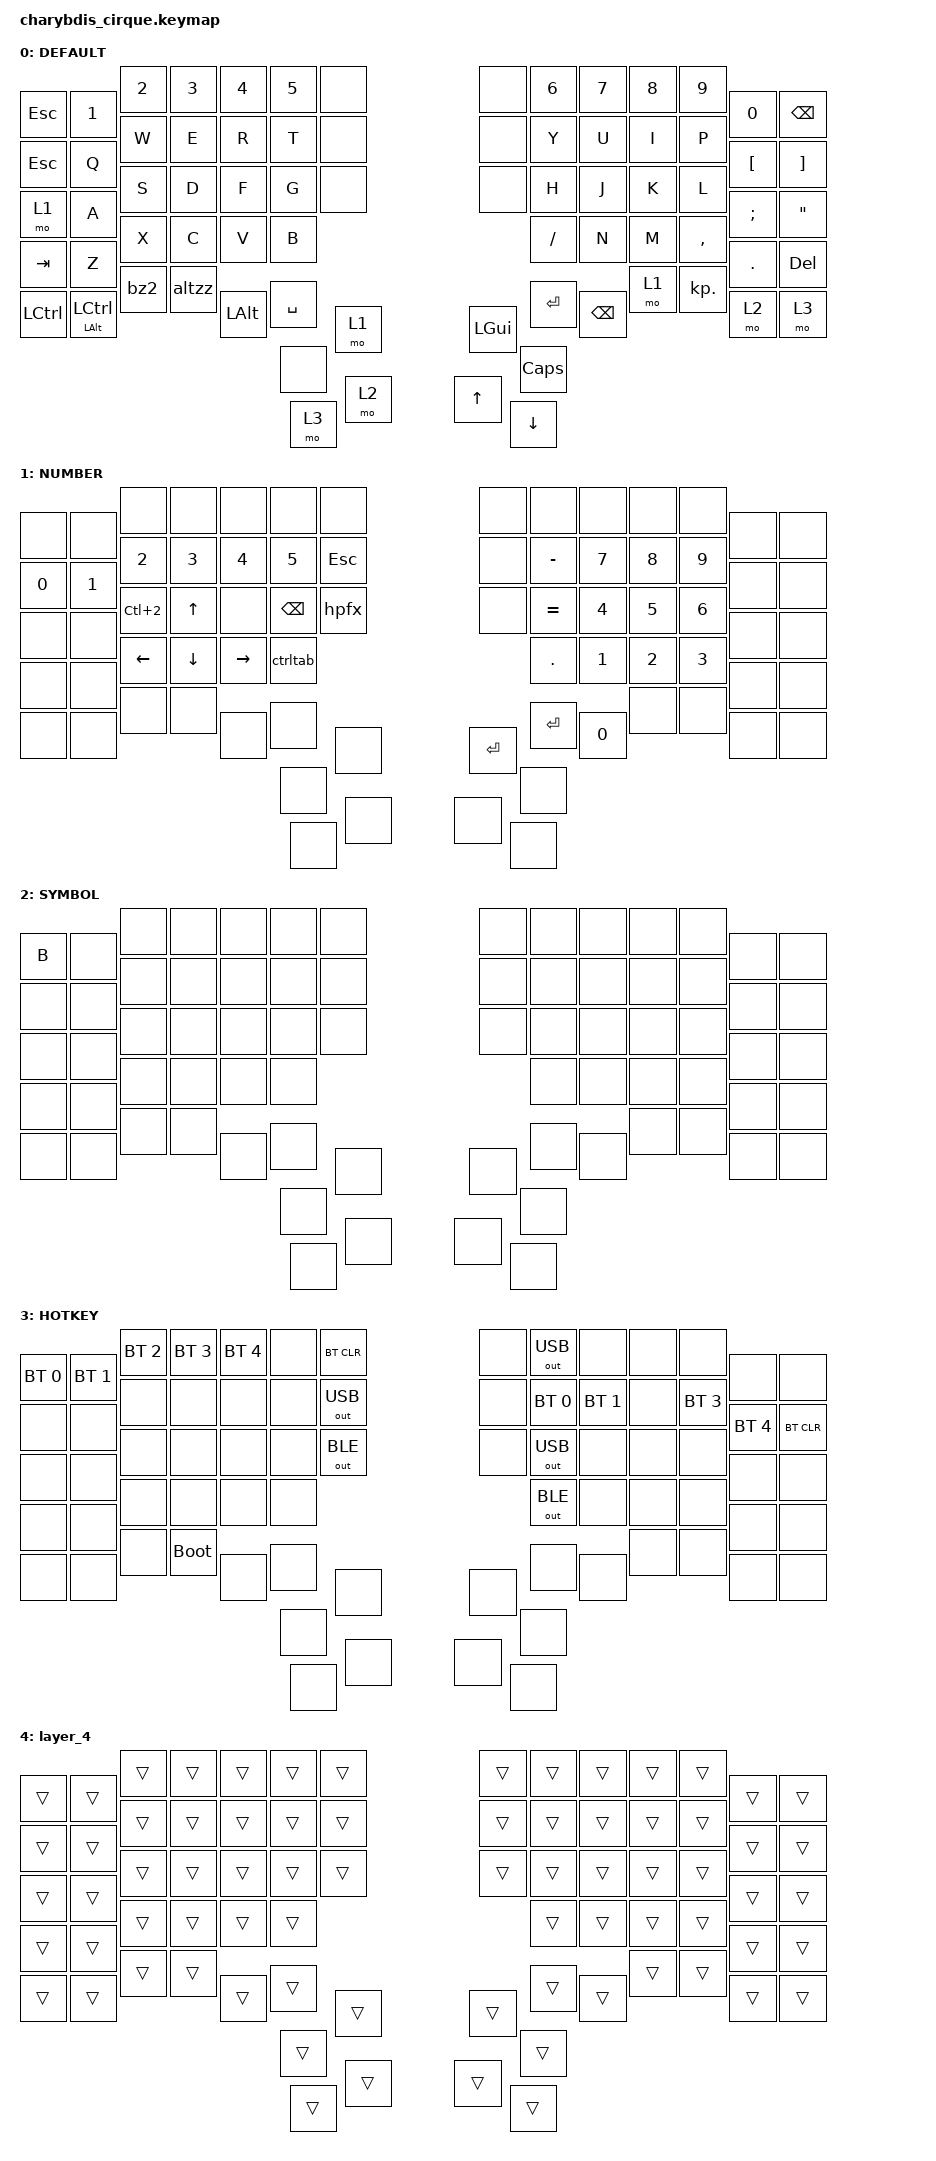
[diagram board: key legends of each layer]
#include <dt-bindings/zmk/mouse.h>
#include <behaviors.dtsi>
#include <dt-bindings/zmk/bt.h>
#include <dt-bindings/zmk/keys.h>
#include <dt-bindings/zmk/outputs.h>

#define DEFAULT 0
#define NUMBER  1
#define SYMBOL  2
#define HOTKEY  3

#define AS(keycode) &as LS(keycode) keycode

/ {
    macros {
        zspace: z {
            compatible = "zmk,behavior-macro";
            #binding-cells = <0>;
            bindings = <&kp Z &kp SPACE &kp ENTER>;
            label = "Z";
            wait-ms = <5>;
            tap-ms = <5>;
        };

        ctrltab: ctrltab {
            compatible = "zmk,behavior-macro";
            #binding-cells = <0>;
            bindings = <&kp LC(TAB)>;
            label = "CTRLTAB";
            wait-ms = <50>;
            tap-ms = <50>;
        };

        hpfx: hpfx {
            compatible = "zmk,behavior-macro";
            #binding-cells = <0>;
            bindings = <&kp H &kp C &kp P &kp K &kp F &kp J &kp X &kp M &kp SPACE>;
            label = "HPFX";
            wait-ms = <4>;
            tap-ms = <4>;
        };

        tcj: tcj {
            compatible = "zmk,behavior-macro";
            #binding-cells = <0>;
            bindings = <&kp T &kp V &kp I &kp A &kp J &kp X &kp SPACE>;
            label = "TCJ";
            wait-ms = <4>;
            tap-ms = <4>;
        };

        bthbc: bthbc {
            compatible = "zmk,behavior-macro";
            #binding-cells = <0>;
            bindings = <&kp B &kp U &kp T &kp V &kp H &kp O &kp B &kp U &kp I &kp H &kp SPACE>;
            label = "BTHBC";
            wait-ms = <4>;
            tap-ms = <4>;
        };

        bz2: bz2 {
            compatible = "zmk,behavior-macro";
            #binding-cells = <0>;
            bindings = <&kp B &kp Z &kp N2>;
            label = "BZ2";
            wait-ms = <4>;
            tap-ms = <4>;
        };

        altzz: altzz {
            compatible = "zmk,behavior-macro";
            #binding-cells = <0>;
            bindings = <&kp LA(Z)>;
            label = "ALTZZ";
            wait-ms = <4>;
            tap-ms = <4>;
        };

        kfpj: kfpj {
            compatible = "zmk,behavior-macro";
            #binding-cells = <0>;
            bindings = <&kp K &kp E &kp F &kp U &kp P &kp K &kp J &kp X &kp SPACE>;
            label = "KFPJ";
            wait-ms = <4>;
            tap-ms = <4>;
        };

        fw2: fw2 {
            compatible = "zmk,behavior-macro";
            #binding-cells = <0>;
            bindings = <&kp F &kp W &kp N2>;
            label = "FW2";
            wait-ms = <4>;
            tap-ms = <4>;
        };

        qcs: qcs {
            compatible = "zmk,behavior-macro";
            #binding-cells = <0>;
            bindings = <&kp Q &kp K &kp I &kp A &kp U &kp Z &kp COMMA &kp X &kp P &kp X &kp P &kp N &kp B &kp SPACE>;
            label = "QCS";
            wait-ms = <4>;
            tap-ms = <4>;
        };

        fap: fap {
            compatible = "zmk,behavior-macro";
            #binding-cells = <0>;
            bindings = <&kp Y &kp I &kp K &kp D &kp J &kp U &kp COMMA &kp Q &kp K &kp I &kp A &kp U &kp Z &kp COMMA &kp X &kp P &kp X &kp P &kp N &kp B &kp SPACE>;
            label = "FAP";
            wait-ms = <4>;
            tap-ms = <4>;
        };
    };

    combos {
        compatible = "zmk,combos";

        df {
            bindings = <&bz2>;
            key-positions = <32 31>;
            timeout-ms = <45>;
            require-prior-idle-ms = <150>;
            layers = <0>;
        };

        sd {
            bindings = <&kfpj>;
            key-positions = <31 30>;
            timeout-ms = <42>;
            require-prior-idle-ms = <150>;
            layers = <0>;
        };

        xc {
            bindings = <&fw2>;
            key-positions = <45 44>;
            timeout-ms = <42>;
            require-prior-idle-ms = <150>;
            layers = <0>;
        };

        we {
            bindings = <&kp ESC>;
            key-positions = <17 16>;
        };
    };

    behaviors {
        hml: howerow_mods_left {
            compatible = "zmk,behavior-hold-tap";
            label = "HOWEROW_MODS_LEFT";
            bindings = <&kp>, <&kp>;

            #binding-cells = <2>;
            tapping-term-ms = <250>;
            quick-tap-ms = <175>;
            require-prior-idle-ms = <150>;
            flavor = "balanced";
            hold-trigger-key-positions = <21 35 48 36 22 23 37 49 12 13 21 22 23 24 25 26 27 35 36 37 38 39 40 41 48 49 50 51 52 53 60 61 62 63 64 65 68 69 72 73 7 8 9 10 11 12 13 21 22 23 24 25 26 27 35 36 37 38 39 40 41 48 49 50 51 52 53 60 61 62 63 64 65 68 69 72 73>;
            hold-trigger-on-release;
        };

        as: auto_shift {
            compatible = "zmk,behavior-hold-tap";
            label = "AUTO_SHIFT";
            bindings = <&kp>, <&kp>;

            #binding-cells = <2>;
            tapping-term-ms = <250>;
            quick-tap-ms = <175>;
            require-prior-idle-ms = <170>;
            flavor = "tap-preferred";
        };
    };

    keymap {
        compatible = "zmk,keymap";

        zero {
            label = "DEFAULT";
            bindings = <
&kp ESC    &kp N1               &kp N2  &kp N3  &kp N4        &kp N5        &none  &none  &kp N6     &kp N7         &kp N8        &kp N9          &kp N0            &kp BACKSPACE
&kp ESC    &kp Q                &kp W   &kp E   &kp R         &kp T         &none  &none  &kp Y      &kp U          &kp I         &kp P           &kp LEFT_BRACKET  &kp RIGHT_BRACKET
&mo 1      &kp A                &kp S   &kp D   &kp F         &kp G         &none  &none  &kp H      &kp J          &kp K         &kp L           &kp SEMICOLON     &kp DOUBLE_QUOTES
&kp TAB    &kp Z                &kp X   &kp C   &kp V         &kp B                       &kp SLASH  &kp N          &kp M         &kp COMMA       &kp PERIOD        &kp DELETE
&kp LCTRL  &hml LEFT_ALT LCTRL  &bz2    &altzz  &kp LEFT_ALT  &kp SPACE                   &kp ENTER  &kp BACKSPACE  &mo 1         &kp KP_DOT      &mo 2             &mo 3
                                &none   &mo 1   &kp LEFT_GUI  &kp CAPSLOCK                &mo 3      &mo 2          &kp UP_ARROW  &kp DOWN_ARROW
            >;
        };

        one {
            label = "NUMBER";
            bindings = <
&none   &none   &none           &none           &none            &none          &none    &none  &none      &none   &none   &none   &none  &none
&kp N0  &kp N1  &kp N2          &kp N3          &kp N4           &kp N5         &kp ESC  &none  &kp MINUS  &kp N7  &kp N8  &kp N9  &none  &none
&none   &none   &kp LC(N2)      &kp UP_ARROW    &none            &kp BACKSPACE  &hpfx    &none  &kp EQUAL  &kp N4  &kp N5  &kp N6  &none  &none
&none   &none   &kp LEFT_ARROW  &kp DOWN_ARROW  &kp RIGHT_ARROW  &ctrltab                       &kp DOT    &kp N1  &kp N2  &kp N3  &none  &none
&none   &none   &none           &none           &none            &none                          &kp ENTER  &kp N0  &none   &none   &none  &none
                &none           &none           &kp ENTER        &none                          &none      &none   &none   &none
            >;
        };

        two {
            label = "SYMBOL";
            bindings = <
&kp B  &none  &none  &none  &none  &none  &none  &none  &none  &none  &none  &none  &none  &none
&none  &none  &none  &none  &none  &none  &none  &none  &none  &none  &none  &none  &none  &none
&none  &none  &none  &none  &none  &none  &none  &none  &none  &none  &none  &none  &none  &none
&none  &none  &none  &none  &none  &none                &none  &none  &none  &none  &none  &none
&none  &none  &none  &none  &none  &none                &none  &none  &none  &none  &none  &none
              &none  &none  &none  &none                &none  &none  &none  &none
            >;
        };

        three {
            label = "HOTKEY";
            bindings = <
&bt BT_SEL 0  &bt BT_SEL 1  &bt BT_SEL 2  &bt BT_SEL 3  &bt BT_SEL 4  &none  &bt BT_CLR    &none  &out OUT_USB  &none         &none  &none         &none         &none
&none         &none         &none         &none         &none         &none  &out OUT_USB  &none  &bt BT_SEL 0  &bt BT_SEL 1  &none  &bt BT_SEL 3  &bt BT_SEL 4  &bt BT_CLR
&none         &none         &none         &none         &none         &none  &out OUT_BLE  &none  &out OUT_USB  &none         &none  &none         &none         &none
&none         &none         &none         &none         &none         &none                       &out OUT_BLE  &none         &none  &none         &none         &none
&none         &none         &none         &bootloader   &none         &none                       &none         &none         &none  &none         &none         &none
                            &none         &none         &none         &none                       &none         &none         &none  &none
            >;
        };

        layer_4 {
            bindings = <
&trans  &trans  &trans  &trans  &trans  &trans  &trans  &trans  &trans  &trans  &trans  &trans  &trans  &trans
&trans  &trans  &trans  &trans  &trans  &trans  &trans  &trans  &trans  &trans  &trans  &trans  &trans  &trans
&trans  &trans  &trans  &trans  &trans  &trans  &trans  &trans  &trans  &trans  &trans  &trans  &trans  &trans
&trans  &trans  &trans  &trans  &trans  &trans                  &trans  &trans  &trans  &trans  &trans  &trans
&trans  &trans  &trans  &trans  &trans  &trans                  &trans  &trans  &trans  &trans  &trans  &trans
                &trans  &trans  &trans  &trans                  &trans  &trans  &trans  &trans
            >;
        };
    };
};
